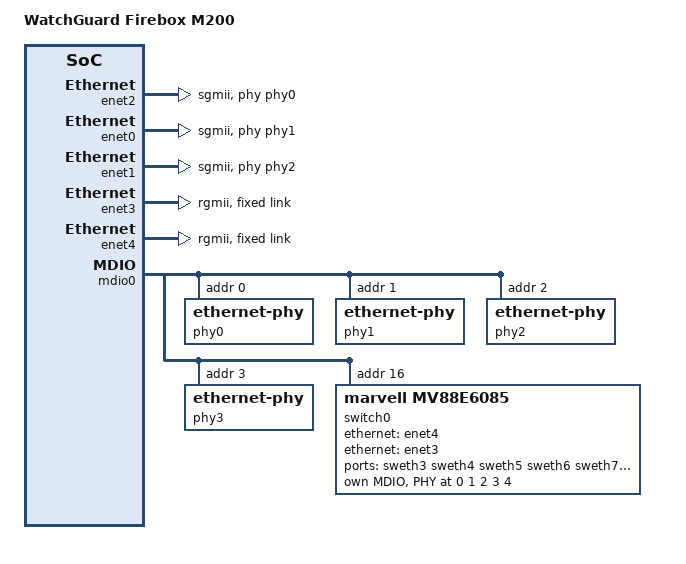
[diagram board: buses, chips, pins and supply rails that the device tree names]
/*
 * T1042RDB_PI Device Tree Source
 *
 * Copyright 2014 - 2015 Freescale Semiconductor Inc.
 *
 * Redistribution and use in source and binary forms, with or without
 * modification, are permitted provided that the following conditions are met:
 *     * Redistributions of source code must retain the above copyright
 *	 notice, this list of conditions and the following disclaimer.
 *     * Redistributions in binary form must reproduce the above copyright
 *	 notice, this list of conditions and the following disclaimer in the
 *	 documentation and/or other materials provided with the distribution.
 *     * Neither the name of Freescale Semiconductor nor the
 *	 names of its contributors may be used to endorse or promote products
 *	 derived from this software without specific prior written permission.
 *
 *
 * ALTERNATIVELY, this software may be distributed under the terms of the
 * GNU General Public License ("GPL") as published by the Free Software
 * Foundation, either version 2 of that License or (at your option) any
 * later version.
 *
 * THIS SOFTWARE IS PROVIDED BY Freescale Semiconductor "AS IS" AND ANY
 * EXPRESS OR IMPLIED WARRANTIES, INCLUDING, BUT NOT LIMITED TO, THE IMPLIED
 * WARRANTIES OF MERCHANTABILITY AND FITNESS FOR A PARTICULAR PURPOSE ARE
 * DISCLAIMED. IN NO EVENT SHALL Freescale Semiconductor BE LIABLE FOR ANY
 * DIRECT, INDIRECT, INCIDENTAL, SPECIAL, EXEMPLARY, OR CONSEQUENTIAL DAMAGES
 * (INCLUDING, BUT NOT LIMITED TO, PROCUREMENT OF SUBSTITUTE GOODS OR SERVICES;
 * LOSS OF USE, DATA, OR PROFITS; OR BUSINESS INTERRUPTION) HOWEVER CAUSED AND
 * ON ANY THEORY OF LIABILITY, WHETHER IN CONTRACT, STRICT LIABILITY, OR TORT
 * (INCLUDING NEGLIGENCE OR OTHERWISE) ARISING IN ANY WAY OUT OF THE USE OF THIS
 * SOFTWARE, EVEN IF ADVISED OF THE POSSIBILITY OF SUCH DAMAGE.
 */

/include/ "t104xsi-pre.dtsi"
/include/ "t104xrdb.dtsi"

/ {
	model = "WatchGuard Firebox M200";
	compatible = "watchguard,firebox-m200", "fsl,T1042RDB_PI";

	aliases {
		/delete-property/ ethernet0;
		/delete-property/ ethernet1;
		/delete-property/ ethernet2;
		/delete-property/ ethernet3;
		/delete-property/ ethernet4;

		ethernet0 = &enet2;
		ethernet1 = &enet0;
		ethernet2 = &enet1;
		ethernet3 = &enet3;
		ethernet4 = &enet4;
	};

};

&soc {
/include/ "qoriq-fman3-0-1g-2.dtsi"
};

#include "t1040si-post.dtsi"
#include "watchguard-firebox-mx00-ifc.dtsi"

// ethernet @ e4000 = eth0 = phy@0
&enet2 {
	phy-mode = "sgmii";
	phy-handle = <&phy0>;
};

// ethernet @ e0000 = eth1 = phy@1
&enet0 {
	phy-mode = "sgmii";
	phy-handle = <&phy1>;
};

// ethernet @ e2000 = eth2 = phy@2
&enet1 {
	phy-mode = "sgmii";
	phy-handle = <&phy2>;
};

&enet3 {
	phy-connection-type = "rgmii";

	fixed-link {
		speed = <1000>;
		full-duplex;
	};
};

&enet4 {
	phy-connection-type = "rgmii";

	fixed-link {
		speed = <1000>;
		full-duplex;
	};
};


&mdio0 {
	compatible = "fsl,fman-memac-mdio";

	// m200 ethernet port 0
	phy0: ethernet-phy@0 {
		reg = <0x00>;
	};

	// m200 ethernet port 1
	phy1: ethernet-phy@1 {
		reg = <0x01>;
	};

	// m200 ethernet port 2
	phy2: ethernet-phy@2 {
		reg = <0x02>;
	};

	phy3: ethernet-phy@3 {
		reg = <0x03>;
	};

	switch0: switch@10 {
		compatible = "marvell,mv88e6085";
		reg = <0x10>;

		mdio {
			#address-cells = <1>;
			#size-cells = <0>;

			switch0phy0: switch0phy0@0 {
				reg = <0x00>;
				interrupt-parent = <&switch0>;
			};

			switch0phy1: switch0phy1@1 {
				reg = <0x01>;
				interrupt-parent = <&switch0>;
			};

			switch0phy2: switch0phy2@2 {
				reg = <0x02>;
				interrupt-parent = <&switch0>;
			};

			switch0phy3: switch0phy3@3 {
				reg = <0x03>;
				interrupt-parent = <&switch0>;
			};

			switch0phy4: switch0phy4@4 {
				reg = <0x04>;
				interrupt-parent = <&switch0>;
			};
		};

		ports {
			#address-cells = <1>;
			#size-cells = <0>;

			port@0 {
				reg = <0>;
				label = "sweth3";
				phy-handle = <&switch0phy0>;
			};

			port@1 {
				reg = <1>;
				label = "sweth4";
				phy-handle = <&switch0phy1>;
			};

			port@2 {
				reg = <2>;
				label = "sweth5";
				phy-handle = <&switch0phy2>;
			};

			port@3 {
				reg = <3>;
				label = "sweth6";
				phy-handle = <&switch0phy3>;
			};

			port@4 {
				reg = <4>;
				label = "sweth7";
				phy-handle = <&switch0phy4>;
			};

			// OEM bootlog suggests multiple ports are attached to switch
			// Keep this until OEM supplies GPL sources
			port@5 {
				status = "disabled";

				reg = "<5>";
				label = "cpu";
				ethernet = <&enet4>;
				phy-mode = "rgmii-id";

				fixed-link {
					speed = <1000>;
					full-duplex;
				};
			};

			port@6 {
				//status = "disabled";
				reg = <6>;
				label = "cpu";
				ethernet = <&enet3>;
				phy-mode = "rgmii-rxid";

				fixed-link {
					speed = <1000>;
					full-duplex;
				};
			};
		};
	};
};
